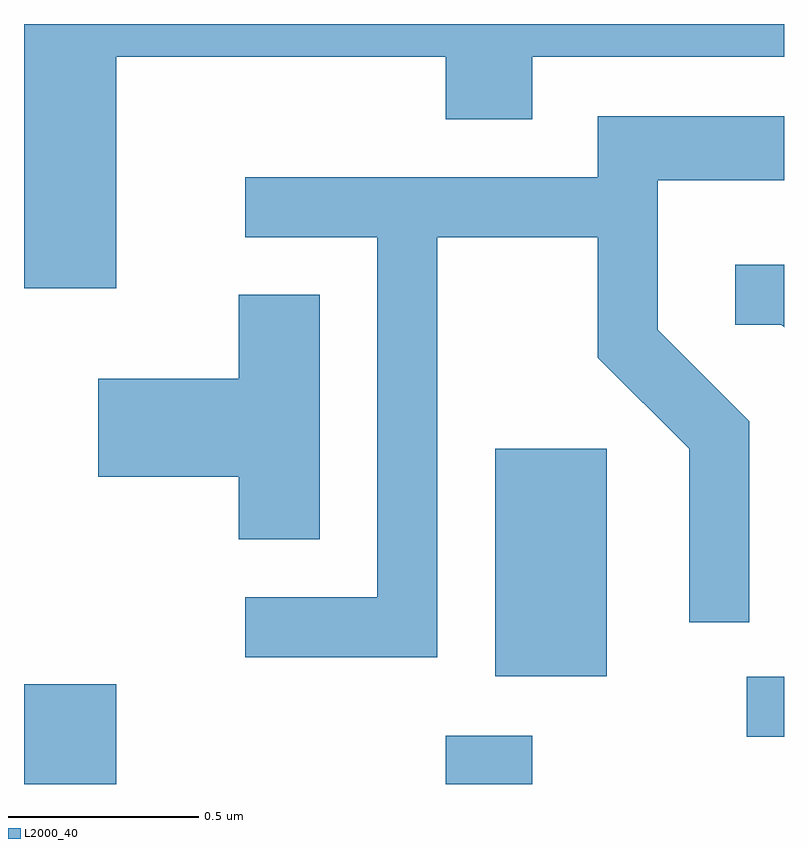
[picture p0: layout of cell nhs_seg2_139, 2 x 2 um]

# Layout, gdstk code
import gdstk
lib = gdstk.Library(unit=1e-6, precision=1e-09)
def R(c, l, rs):  # rectangles x0, y0, x1, y1
    for r in rs: c.add(gdstk.rectangle(r[:2], r[2:], *l))
def P(c, l, *ps):  # polygons
    for p in ps: c.add(gdstk.Polygon(p, *l))
L2000_40 = (2000, 40)

nhs_seg2_139 = lib.new_cell('nhs_seg2_139')
R(nhs_seg2_139, L2000_40, [(186.611,979.802,186.854,980.064), (187.721,979.802,187.949,979.929), (188.513,979.926,188.611,980.084), (187.851,980.086,188.144,980.684)])
P(nhs_seg2_139, L2000_40, [(186.854,981.716),(187.721,981.716),(187.721,981.551),(187.949,981.551),(187.949,981.716),(188.611,981.716),(188.611,981.802),(186.611,981.802),(186.611,981.106),(186.854,981.106)],
  [(187.699,981.241),(188.121,981.241),(188.121,980.924),(188.361,980.684),(188.361,980.228),(188.519,980.228),(188.519,980.757),(188.279,980.997),(188.279,981.391),(188.611,981.391),(188.611,981.559),(188.121,981.559),(188.121,981.399),(187.193,981.399),(187.193,981.241),(187.541,981.241),(187.541,980.294),(187.193,980.294),(187.193,980.136),(187.699,980.136)],
  [(188.611,981.169),(188.483,981.169),(188.483,981.011),(188.604,981.011),(188.611,981.004)],
  [(187.389,981.089),(187.176,981.089),(187.176,980.869),(186.806,980.869),(186.806,980.611),(187.176,980.611),(187.176,980.446),(187.389,980.446)])

lib.write_gds('nhs_seg2_139.gds')
